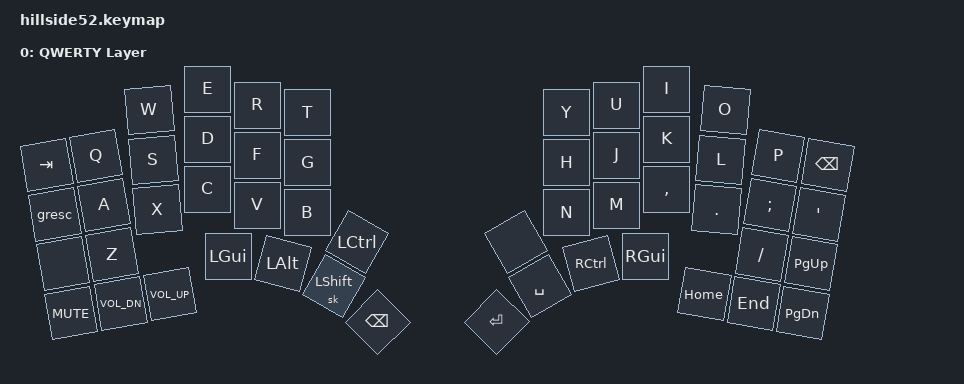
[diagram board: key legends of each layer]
#include <behaviors.dtsi>
#include <dt-bindings/zmk/keys.h>
#include <dt-bindings/zmk/bt.h>
#include <dt-bindings/zmk/ext_power.h>
#include <dt-bindings/zmk/outputs.h>

#define QWERTY_L 0

/ {
    keymap {
        compatible = "zmk,keymap";

        default_layer {
            //                       ╭──────────────────────╮
            //                       │ DEFAULT / BASE LAYER │
            //                       ╰──────────────────────╯
            // ╭───────────────────────────╮         ╭───────────────────────────╮
            // │TAB  q   w   e   r   t     │         │     y   u   i   o   p BSPC│
            // │ `   a   s   d   f   g     ╰─╮     ╭─╯     h   j   k   l   ;   ' │
            // │[+]  z‌   x‌   c‌   v‌   b‌  CTR  ╰─╮ ╭─╯  [+]  n   m   ,   .   /  [+]│
            // | 🕨  🕩  🕪  ╭─╮ WIN ALT LS^ ADJ│ │ENT SPC CTR WIN ╭─╮ HME END ENT│
            // ╰────────────╯ ╰────────────────╯ ╰────────────────╯ ╰────────────╯
            display-name = "QWERTY Layer";
            bindings = <
                &kp TAB  &kp Q  &kp W  &kp E  &kp R  &kp T  &kp Y  &kp U  &kp I  &kp O  &kp P &kp BSPC
                &gresc  &kp A  &kp S  &kp D  &kp F  &kp G  &kp H  &kp J  &kp K  &kp L  &kp SEMI  &kp SQT
                &none  &kp Z  &kp X  &kp C  &kp V  &kp B  &kp N  &kp M  &kp COMMA  &kp DOT  &kp SLASH  &kp PG_UP
                &kp C_MUTE  &kp C_VOL_DN  &kp C_VOL_UP  &kp HOME  &kp END  &kp PG_DN
                &kp LGUI  &kp LALT  &sk LSHIFT  &kp BSPC  &kp LCTRL  &none  &kp ENTER  &kp SPACE  &kp  RCTRL  &kp RGUI
            >;
        };
    };
};
